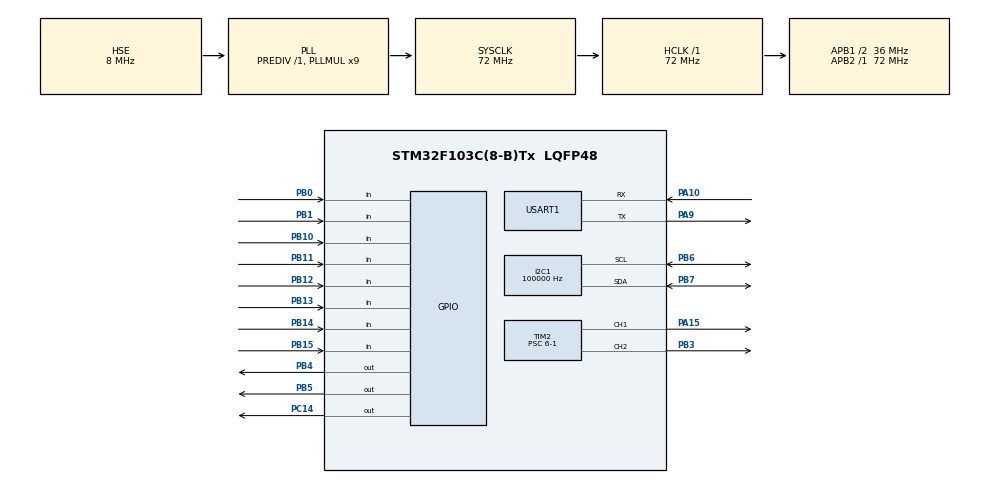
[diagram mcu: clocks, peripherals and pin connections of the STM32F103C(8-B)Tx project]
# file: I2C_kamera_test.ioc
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Mcu.Family=STM32F1
TIM2.Channel-Output\ Compare1\ CH1=TIM_CHANNEL_1
RCC.PLLSourceVirtual=RCC_PLLSOURCE_HSE
PD1-OSC_OUT.Mode=HSE-External-Oscillator
PA10.Mode=Asynchronous
Dma.TIM2_CH3.0.Priority=DMA_PRIORITY_VERY_HIGH
PD0-OSC_IN.Signal=RCC_OSC_IN
Dma.TIM2_CH3.0.MemDataAlignment=DMA_MDATAALIGN_BYTE
TIM2.Channel-PWM\ Generation2\ CH2=TIM_CHANNEL_2
RCC.APB1CLKDivider=RCC_HCLK_DIV2
PC14-OSC32_IN.Signal=GPIO_Output
TIM2.OCPolarity_2=TIM_OCPOLARITY_LOW
PB11.Signal=GPIO_Input
PB13.Signal=GPIO_Input
PB15.Signal=GPIO_Input
RCC.SYSCLKSource=RCC_SYSCLKSOURCE_PLLCLK
ProjectManager.StackSize=0x400
PD1-OSC_OUT.Signal=RCC_OSC_OUT
PA13.Signal=SYS_JTMS-SWDIO
SH.S_TIM2_CH2.0=TIM2_CH2,PWM Generation2 CH2
PA9.Mode=Asynchronous
Dma.TIM2_CH3.0.Instance=DMA1_Channel1
I2C1.ClockSpeed=100000
ProjectManager.TargetToolchain=STM32CubeIDE
RCC.HCLKFreq_Value=72000000
RCC.APB2TimFreq_Value=72000000
PA9.Signal=USART1_TX
PB6.Signal=I2C1_SCL
PB6.Mode=I2C
RCC.USBFreq_Value=72000000
RCC.AHBFreq_Value=72000000
PD0-OSC_IN.Mode=HSE-External-Oscillator
PB10.Signal=GPIO_Input
PB14.Signal=GPIO_Input
board=custom
RCC.PLLMUL=RCC_PLL_MUL9
RCC.APB2Freq_Value=72000000
TIM2.OCMode_PWM-PWM\ Generation2\ CH2=TIM_OCMODE_PWM2
PA14.Mode=Serial_Wire
PB7.Signal=I2C1_SDA
Dma.TIM2_CH3.0.Mode=DMA_NORMAL
Dma.TIM2_CH3.0.MemInc=DMA_MINC_ENABLE
TIM2.Period=120 -1
PA13.Mode=Serial_Wire
Mcu.Name=STM32F103C(8-B)Tx
I2C1.OwnAddress=0
PB3.Signal=S_TIM2_CH2
RCC.SYSCLKFreq_VALUE=72000000
Mcu.Package=LQFP48
PB5.Signal=GPIO_Output
Dma.TIM2_CH3.0.PeriphDataAlignment=DMA_PDATAALIGN_BYTE
TIM2.Prescaler=6-1
PB1.Signal=GPIO_Input
TIM2.Channel-Output\ Compare3\ No\ Output=TIM_CHANNEL_3
USART1.VirtualMode=VM_ASYNC
PB7.Mode=I2C
SH.S_TIM2_CH1_ETR.0=TIM2_CH1,Output Compare1 CH1
PA10.Signal=USART1_RX
PA14.Signal=SYS_JTCK-SWCLK
PA15.Signal=S_TIM2_CH1_ETR
ProjectManager.HeapSize=0x200
VP_TIM2_VS_no_output3.Mode=Output Compare3 No Output
TIM2.Pulse-PWM\ Generation2\ CH2=60
NVIC.PriorityGroup=NVIC_PRIORITYGROUP_4
RCC.APB1TimFreq_Value=72000000
TIM2.AutoReloadPreload=TIM_AUTORELOAD_PRELOAD_ENABLE
NVIC.DMA1_Channel1_IRQn=true\:0\:0\:false\:false\:true\:false\:true
Dma.Request0=TIM2_CH3
RCC.APB1Freq_Value=36000000
PB0.Signal=GPIO_Input
Dma.TIM2_CH3.0.PeriphInc=DMA_PINC_DISABLE
PB12.Signal=GPIO_Input
PB4.Signal=GPIO_Output
Dma.TIM2_CH3.0.Direction=DMA_PERIPH_TO_MEMORY

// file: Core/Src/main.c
/* USER CODE BEGIN Header */
/**
  ******************************************************************************
  * @file           : main.c
  * @brief          : Main program body
  ******************************************************************************
  * @attention
  *
  * <h2><center>&copy; Copyright (c) 2021 STMicroelectronics.
  * All rights reserved.</center></h2>
  *
  * This software component is licensed by ST under BSD 3-Clause license,
  * the "License"; You may not use this file except in compliance with the
  * License. You may obtain a copy of the License at:
  *                        opensource.org/licenses/BSD-3-Clause
  *
  ******************************************************************************
  */
/* USER CODE END Header */
#include "main.h"

/* USER CODE BEGIN Includes */

#include "camera.h"

/* USER CODE END Includes */

I2C_HandleTypeDef hi2c1;

TIM_HandleTypeDef htim2;
DMA_HandleTypeDef hdma_tim2_ch3;

UART_HandleTypeDef huart1;

/* USER CODE BEGIN PV */
CAM_HandleTypeDef hcam;
uint8_t cameraData[640] = {10};
uint32_t sourceData[256];
Picture pic1;

/* USER CODE END PV */

void SystemClock_Config(void);
static void MX_GPIO_Init(void);
static void MX_DMA_Init(void);
static void MX_I2C1_Init(void);
static void MX_TIM2_Init(void);
static void MX_USART1_UART_Init(void);
/* USER CODE BEGIN PFP */
void CAM_Handle_Init(CAM_HandleTypeDef *cam);
/* USER CODE END PFP */

int main(void)
{

  /* MCU Configuration--------------------------------------------------------*/

  /* Reset of all peripherals, Initializes the Flash interface and the Systick. */
  HAL_Init();

  /* Configure the system clock */
  SystemClock_Config();

  /* Initialize all configured peripherals */
  MX_GPIO_Init();
  MX_DMA_Init();
  MX_I2C1_Init();
  MX_TIM2_Init();
  MX_USART1_UART_Init();
  /* USER CODE BEGIN 2 */
  CAM_Handle_Init(&hcam);
  CAM_init(&hcam);

  //HAL_TIM_OC_Start_DMA(&htim2, TIM_CHANNEL_3, &(GPIOA->IDR), hcam.pic->width);
  CAM_getReg(&hcam, 0x12);
  CAM_getReg(&hcam, 0x1E);
  CAM_getReg(&hcam, 0x13);
  CAM_getReg(&hcam, 0x3F);
  CAM_getReg(&hcam, 0x71);

  for (int i = 0; i < 10; i++) {
	  CAM_takePicture(&hcam);
  }

  for (int i = 0; i < 256; i++) {
	  sourceData[i] = i;
  }
  //HAL_TIM_OC_Start(&htim2, TIM_CHANNEL_1);
  HAL_TIM_PWM_Start(&htim2, TIM_CHANNEL_2);

  HAL_TIM_OC_Start(&htim2, TIM_CHANNEL_3);
  HAL_TIM_PWM_Stop(&htim2, TIM_CHANNEL_2);
  //HAL_DMA_Start_IT(&hdma_tim2_ch3, &(GPIOA->IDR), cameraData, 640);
  //HAL_DMA_Abort(&hdma_tim2_ch3);
  //HAL_TIM_OC_Stop_DMA(&htim2, TIM_CHANNEL_3);
  //HAL_TIM_OC_Start_DMA(&htim2, TIM_CHANNEL_3, &(GPIOA->IDR), hcam.pic->width);

  /* USER CODE END 2 */

  /* Infinite loop */
  /* USER CODE BEGIN WHILE */
  while (1)
  {
	  CAM_update(&hcam);

	  if (htim2.Instance->CNT > 60) {
		  HAL_GPIO_WritePin(GPIOB, GPIO_PIN_5, GPIO_PIN_SET);

	  }
	  else (HAL_GPIO_WritePin(GPIOB,GPIO_PIN_5, GPIO_PIN_RESET));

    /* USER CODE END WHILE */

  }
}

void SystemClock_Config(void)
{
  RCC_OscInitTypeDef RCC_OscInitStruct = {0};
  RCC_ClkInitTypeDef RCC_ClkInitStruct = {0};

  /** Initializes the RCC Oscillators according to the specified parameters
  * in the RCC_OscInitTypeDef structure.
  */
  RCC_OscInitStruct.OscillatorType = RCC_OSCILLATORTYPE_HSE;
  RCC_OscInitStruct.HSEState = RCC_HSE_ON;
  RCC_OscInitStruct.HSEPredivValue = RCC_HSE_PREDIV_DIV1;
  RCC_OscInitStruct.HSIState = RCC_HSI_ON;
  RCC_OscInitStruct.PLL.PLLState = RCC_PLL_ON;
  RCC_OscInitStruct.PLL.PLLSource = RCC_PLLSOURCE_HSE;
  RCC_OscInitStruct.PLL.PLLMUL = RCC_PLL_MUL9;
  if (HAL_RCC_OscConfig(&RCC_OscInitStruct) != HAL_OK)
  {
    Error_Handler();
  }
  /** Initializes the CPU, AHB and APB buses clocks
  */
  RCC_ClkInitStruct.ClockType = RCC_CLOCKTYPE_HCLK|RCC_CLOCKTYPE_SYSCLK
                              |RCC_CLOCKTYPE_PCLK1|RCC_CLOCKTYPE_PCLK2;
  RCC_ClkInitStruct.SYSCLKSource = RCC_SYSCLKSOURCE_PLLCLK;
  RCC_ClkInitStruct.AHBCLKDivider = RCC_SYSCLK_DIV1;
  RCC_ClkInitStruct.APB1CLKDivider = RCC_HCLK_DIV2;
  RCC_ClkInitStruct.APB2CLKDivider = RCC_HCLK_DIV1;

  if (HAL_RCC_ClockConfig(&RCC_ClkInitStruct, FLASH_LATENCY_2) != HAL_OK)
  {
    Error_Handler();
  }
}

static void MX_I2C1_Init(void)
{

  hi2c1.Instance = I2C1;
  hi2c1.Init.ClockSpeed = 100000;
  hi2c1.Init.DutyCycle = I2C_DUTYCYCLE_2;
  hi2c1.Init.OwnAddress1 = 0;
  hi2c1.Init.AddressingMode = I2C_ADDRESSINGMODE_7BIT;
  hi2c1.Init.DualAddressMode = I2C_DUALADDRESS_DISABLE;
  hi2c1.Init.OwnAddress2 = 0;
  hi2c1.Init.GeneralCallMode = I2C_GENERALCALL_DISABLE;
  hi2c1.Init.NoStretchMode = I2C_NOSTRETCH_DISABLE;
  if (HAL_I2C_Init(&hi2c1) != HAL_OK)
  {
    Error_Handler();
  }

}

static void MX_TIM2_Init(void)
{

  TIM_MasterConfigTypeDef sMasterConfig = {0};
  TIM_OC_InitTypeDef sConfigOC = {0};

  htim2.Instance = TIM2;
  htim2.Init.Prescaler = 6-1;
  htim2.Init.CounterMode = TIM_COUNTERMODE_UP;
  htim2.Init.Period = 120 -1;
  htim2.Init.ClockDivision = TIM_CLOCKDIVISION_DIV1;
  htim2.Init.AutoReloadPreload = TIM_AUTORELOAD_PRELOAD_ENABLE;
  if (HAL_TIM_OC_Init(&htim2) != HAL_OK)
  {
    Error_Handler();
  }
  if (HAL_TIM_PWM_Init(&htim2) != HAL_OK)
  {
    Error_Handler();
  }
  sMasterConfig.MasterOutputTrigger = TIM_TRGO_RESET;
  sMasterConfig.MasterSlaveMode = TIM_MASTERSLAVEMODE_DISABLE;
  if (HAL_TIMEx_MasterConfigSynchronization(&htim2, &sMasterConfig) != HAL_OK)
  {
    Error_Handler();
  }
  sConfigOC.OCMode = TIM_OCMODE_TIMING;
  sConfigOC.Pulse = 0;
  sConfigOC.OCPolarity = TIM_OCPOLARITY_HIGH;
  sConfigOC.OCFastMode = TIM_OCFAST_DISABLE;
  if (HAL_TIM_OC_ConfigChannel(&htim2, &sConfigOC, TIM_CHANNEL_1) != HAL_OK)
  {
    Error_Handler();
  }
  sConfigOC.OCMode = TIM_OCMODE_PWM2;
  sConfigOC.Pulse = 60;
  sConfigOC.OCPolarity = TIM_OCPOLARITY_LOW;
  if (HAL_TIM_PWM_ConfigChannel(&htim2, &sConfigOC, TIM_CHANNEL_2) != HAL_OK)
  {
    Error_Handler();
  }
  sConfigOC.OCMode = TIM_OCMODE_TIMING;
  sConfigOC.Pulse = 0;
  sConfigOC.OCPolarity = TIM_OCPOLARITY_HIGH;
  if (HAL_TIM_OC_ConfigChannel(&htim2, &sConfigOC, TIM_CHANNEL_3) != HAL_OK)
  {
    Error_Handler();
  }
  /* USER CODE BEGIN TIM2_Init 2 */
  HAL_TIM_OC_MspInit(&htim2);
  HAL_TIM_PWM_MspInit(&htim2);
  /* USER CODE END TIM2_Init 2 */
  HAL_TIM_MspPostInit(&htim2);

}

static void MX_USART1_UART_Init(void)
{

  huart1.Instance = USART1;
  huart1.Init.BaudRate = 115200;
  huart1.Init.WordLength = UART_WORDLENGTH_8B;
  huart1.Init.StopBits = UART_STOPBITS_1;
  huart1.Init.Parity = UART_PARITY_NONE;
  huart1.Init.Mode = UART_MODE_TX_RX;
  huart1.Init.HwFlowCtl = UART_HWCONTROL_NONE;
  huart1.Init.OverSampling = UART_OVERSAMPLING_16;
  if (HAL_UART_Init(&huart1) != HAL_OK)
  {
    Error_Handler();
  }

}

static void MX_DMA_Init(void)
{

  /* DMA controller clock enable */
  __HAL_RCC_DMA1_CLK_ENABLE();

  /* DMA interrupt init */
  /* DMA1_Channel1_IRQn interrupt configuration */
  HAL_NVIC_SetPriority(DMA1_Channel1_IRQn, 0, 0);
  HAL_NVIC_EnableIRQ(DMA1_Channel1_IRQn);

}

static void MX_GPIO_Init(void)
{
  GPIO_InitTypeDef GPIO_InitStruct = {0};

  /* GPIO Ports Clock Enable */
  __HAL_RCC_GPIOC_CLK_ENABLE();
  __HAL_RCC_GPIOD_CLK_ENABLE();
  __HAL_RCC_GPIOB_CLK_ENABLE();
  __HAL_RCC_GPIOA_CLK_ENABLE();

  /*Configure GPIO pin Output Level */
  HAL_GPIO_WritePin(GPIOC, GPIO_PIN_14, GPIO_PIN_RESET);

  /*Configure GPIO pin Output Level */
  HAL_GPIO_WritePin(GPIOB, GPIO_PIN_4|GPIO_PIN_5, GPIO_PIN_RESET);

  /*Configure GPIO pin : PC14 */
  GPIO_InitStruct.Pin = GPIO_PIN_14;
  GPIO_InitStruct.Mode = GPIO_MODE_OUTPUT_PP;
  GPIO_InitStruct.Pull = GPIO_NOPULL;
  GPIO_InitStruct.Speed = GPIO_SPEED_FREQ_LOW;
  HAL_GPIO_Init(GPIOC, &GPIO_InitStruct);

  /*Configure GPIO pins : PB0 PB1 PB10 PB11
                           PB12 PB13 PB14 PB15 */
  GPIO_InitStruct.Pin = GPIO_PIN_0|GPIO_PIN_1|GPIO_PIN_10|GPIO_PIN_11
                          |GPIO_PIN_12|GPIO_PIN_13|GPIO_PIN_14|GPIO_PIN_15;
  GPIO_InitStruct.Mode = GPIO_MODE_INPUT;
  GPIO_InitStruct.Pull = GPIO_NOPULL;
  HAL_GPIO_Init(GPIOB, &GPIO_InitStruct);

  /*Configure GPIO pins : PB4 PB5 */
  GPIO_InitStruct.Pin = GPIO_PIN_4|GPIO_PIN_5;
  GPIO_InitStruct.Mode = GPIO_MODE_OUTPUT_PP;
  GPIO_InitStruct.Pull = GPIO_NOPULL;
  GPIO_InitStruct.Speed = GPIO_SPEED_FREQ_LOW;
  HAL_GPIO_Init(GPIOB, &GPIO_InitStruct);

}

/* USER CODE BEGIN 4 */

void CAM_Handle_Init(CAM_HandleTypeDef *cam) {
	cam->I2C_Address = 0x21;
	cam->destination = cameraData;
	cam->hdma = &hdma_tim2_ch3;
	cam->pic = &pic1;
	cam->requestDataTimer = &htim2;
	cam->requestDataChannel = TIM_CHANNEL_2;
	cam->DMATimer = &htim2;
	cam->DMAChannel = TIM_CHANNEL_3;
	cam->source = &(GPIOA->IDR);
	cam->status = STANDBY;
	cam->I2C_Handler = &hi2c1;

	cam->pic->x = 0;
	cam->pic->y = 0;
	cam->pic->height = 480;
	cam->pic->width = 640;

}

void transmitBuffer() {
	HAL_UART_Transmit(&huart1, cameraData, 640, HAL_MAX_DELAY);
}

/* USER CODE END 4 */

void Error_Handler(void)
{
  __disable_irq();
  while (1)
  {
  }
}

/************************ (C) COPYRIGHT STMicroelectronics *****END OF FILE****/
